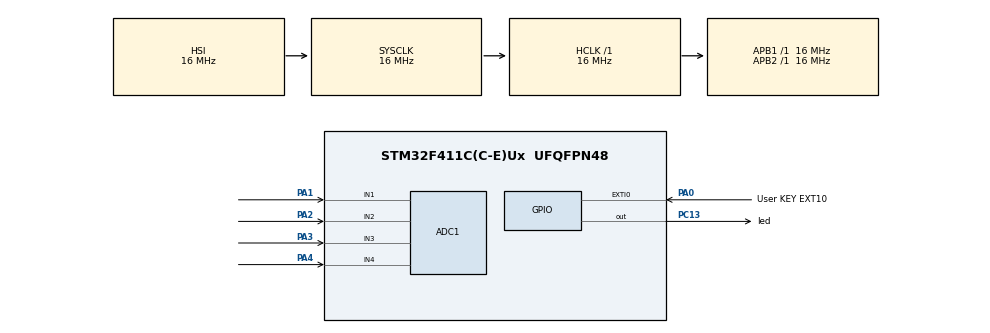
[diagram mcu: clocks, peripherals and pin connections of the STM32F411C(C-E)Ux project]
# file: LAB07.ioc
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ADC1.Channel-2\#ChannelRegularConversion=ADC_CHANNEL_1
ADC1.Channel-3\#ChannelRegularConversion=ADC_CHANNEL_2
ADC1.Channel-4\#ChannelRegularConversion=ADC_CHANNEL_3
ADC1.Channel-5\#ChannelRegularConversion=ADC_CHANNEL_4
ADC1.DMAContinuousRequests=ENABLE
ADC1.NbrOfConversion=4
ADC1.NbrOfConversionFlag=1
ADC1.Rank-2\#ChannelRegularConversion=1
ADC1.Rank-3\#ChannelRegularConversion=2
ADC1.Rank-4\#ChannelRegularConversion=3
ADC1.Rank-5\#ChannelRegularConversion=4
ADC1.SamplingTime-2\#ChannelRegularConversion=ADC_SAMPLETIME_3CYCLES
ADC1.SamplingTime-3\#ChannelRegularConversion=ADC_SAMPLETIME_3CYCLES
ADC1.SamplingTime-4\#ChannelRegularConversion=ADC_SAMPLETIME_3CYCLES
ADC1.SamplingTime-5\#ChannelRegularConversion=ADC_SAMPLETIME_3CYCLES
ADC1.ScanConvMode=ENABLE
ADC1.master=1
Dma.ADC1.0.Direction=DMA_PERIPH_TO_MEMORY
Dma.ADC1.0.FIFOMode=DMA_FIFOMODE_DISABLE
Dma.ADC1.0.Instance=DMA2_Stream0
Dma.ADC1.0.MemDataAlignment=DMA_MDATAALIGN_WORD
Dma.ADC1.0.MemInc=DMA_MINC_ENABLE
Dma.ADC1.0.Mode=DMA_CIRCULAR
Dma.ADC1.0.PeriphDataAlignment=DMA_PDATAALIGN_WORD
Dma.ADC1.0.PeriphInc=DMA_PINC_DISABLE
Dma.ADC1.0.Priority=DMA_PRIORITY_LOW
Dma.Request0=ADC1
Dma.Request1=TIM2_CH3/UP
Dma.TIM2_CH3/UP.1.Direction=DMA_PERIPH_TO_MEMORY
Dma.TIM2_CH3/UP.1.FIFOMode=DMA_FIFOMODE_DISABLE
Dma.TIM2_CH3/UP.1.Instance=DMA1_Stream1
Dma.TIM2_CH3/UP.1.MemDataAlignment=DMA_MDATAALIGN_WORD
Dma.TIM2_CH3/UP.1.MemInc=DMA_MINC_ENABLE
Dma.TIM2_CH3/UP.1.Mode=DMA_NORMAL
Dma.TIM2_CH3/UP.1.PeriphDataAlignment=DMA_PDATAALIGN_WORD
Dma.TIM2_CH3/UP.1.PeriphInc=DMA_PINC_DISABLE
Dma.TIM2_CH3/UP.1.Priority=DMA_PRIORITY_LOW
FREERTOS.Mutexes01=SensorAMutex,Dynamic,NULL,Available;SensorBMutex,Dynamic,NULL,Available
FREERTOS.Tasks01=LEDTASK,24,128,STARTLEDTASK,Default,NULL,Dynamic,NULL,NULL;AN1Task,24,128,StartAN1Task,Default,NULL,Dynamic,NULL,NULL;AN2Task,24,128,StartAN2Task,Default,NULL,Dynamic,NULL,NULL;AN3Task,24,128,StartAN3Task,Default,NULL,Dynamic,NULL,NULL;AN4Task,24,128,StartAN4task,Default,NULL,Dynamic,NULL,NULL
Mcu.Family=STM32F4
Mcu.Name=STM32F411C(C-E)Ux
Mcu.Package=UFQFPN48
NVIC.ADC_IRQn=true\:5\:0\:false\:false\:true\:true\:true\:true\:true
NVIC.DMA1_Stream1_IRQn=true\:5\:0\:false\:false\:true\:true\:false\:true\:true
NVIC.DMA2_Stream0_IRQn=true\:5\:0\:false\:false\:true\:true\:false\:true\:true
NVIC.EXTI0_IRQn=true\:5\:0\:false\:false\:true\:true\:true\:true\:true
NVIC.PriorityGroup=NVIC_PRIORITYGROUP_4
NVIC.TIM1_UP_TIM10_IRQn=true\:15\:0\:false\:false\:true\:false\:false\:true\:true
NVIC.TIM2_IRQn=true\:5\:0\:false\:false\:true\:true\:true\:true\:true
NVIC.TimeBase=TIM1_UP_TIM10_IRQn
NVIC.TimeBaseIP=TIM10
PA0-WKUP.GPIO_Label=User KEY EXT10
PA0-WKUP.GPIO_ModeDefaultEXTI=GPIO_MODE_IT_FALLING
PA0-WKUP.GPIO_PuPd=GPIO_PULLUP
PA0-WKUP.Signal=GPXTI0
PA1.Signal=ADCx_IN1
PA13.Mode=Serial_Wire
PA13.Signal=SYS_JTMS-SWDIO
PA14.Mode=Serial_Wire
PA14.Signal=SYS_JTCK-SWCLK
PA2.Signal=ADCx_IN2
PA3.Signal=ADCx_IN3
PA4.Signal=ADCx_IN4
PC13-ANTI_TAMP.GPIO_Label=led
PC13-ANTI_TAMP.GPIO_ModeDefaultOutputPP=GPIO_MODE_OUTPUT_OD
PC13-ANTI_TAMP.GPIO_PuPd=GPIO_NOPULL
PC13-ANTI_TAMP.PinState=GPIO_PIN_SET
PC13-ANTI_TAMP.Signal=GPIO_Output
PH0\ -\ OSC_IN.Mode=HSE-External-Oscillator
PH0\ -\ OSC_IN.Signal=RCC_OSC_IN
PH1\ -\ OSC_OUT.Mode=HSE-External-Oscillator
PH1\ -\ OSC_OUT.Signal=RCC_OSC_OUT
ProjectManager.HeapSize=0x200
ProjectManager.StackSize=0x400
ProjectManager.TargetToolchain=CMake
RCC.AHBFreq_Value=16000000
RCC.APB1Freq_Value=16000000
RCC.APB2Freq_Value=16000000
RCC.CortexFreq_Value=16000000
RCC.HSE_VALUE=25000000
RCC.HSI_VALUE=16000000
RCC.LSE_VALUE=32768
RCC.SYSCLKFreq_VALUE=16000000
RCC.VCOOutputFreq_Value=192000000
SH.ADCx_IN1.0=ADC1_IN1,IN1
SH.ADCx_IN2.0=ADC1_IN2,IN2
SH.ADCx_IN3.0=ADC1_IN3,IN3
SH.ADCx_IN4.0=ADC1_IN4,IN4
TIM2.AutoReloadPreload=TIM_AUTORELOAD_PRELOAD_ENABLE
TIM2.Period=16000-1
TIM2.Prescaler=3999
VP_FREERTOS_VS_CMSIS_V2.Mode=CMSIS_V2
VP_SYS_VS_tim10.Mode=TIM10
VP_TIM2_VS_ClockSourceINT.Mode=Internal
board=custom

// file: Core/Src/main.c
/* USER CODE BEGIN Header */
/**
  ******************************************************************************
  * @file           : main.c
  * @brief          : Main program body
  ******************************************************************************
  * @attention
  *
  * Copyright (c) 2024 STMicroelectronics.
  * All rights reserved.
  *
  * This software is licensed under terms that can be found in the LICENSE file
  * in the root directory of this software component.
  * If no LICENSE file comes with this software, it is provided AS-IS.
  *
  ******************************************************************************
  */
/* USER CODE END Header */
#include "main.h"
#include "cmsis_os.h"

ADC_HandleTypeDef hadc1;
DMA_HandleTypeDef hdma_adc1;

TIM_HandleTypeDef htim2;
DMA_HandleTypeDef hdma_tim2_ch3_up;

/* Definitions for LEDTASK */
osThreadId_t LEDTASKHandle;
const osThreadAttr_t LEDTASK_attributes = {
  .name = "LEDTASK",
  .stack_size = 128 * 4,
  .priority = (osPriority_t) osPriorityNormal,
};
/* Definitions for AN1Task */
osThreadId_t AN1TaskHandle;
const osThreadAttr_t AN1Task_attributes = {
  .name = "AN1Task",
  .stack_size = 128 * 4,
  .priority = (osPriority_t) osPriorityNormal,
};
/* Definitions for AN2Task */
osThreadId_t AN2TaskHandle;
const osThreadAttr_t AN2Task_attributes = {
  .name = "AN2Task",
  .stack_size = 128 * 4,
  .priority = (osPriority_t) osPriorityNormal,
};
/* Definitions for AN3Task */
osThreadId_t AN3TaskHandle;
const osThreadAttr_t AN3Task_attributes = {
  .name = "AN3Task",
  .stack_size = 128 * 4,
  .priority = (osPriority_t) osPriorityNormal,
};
/* Definitions for AN4Task */
osThreadId_t AN4TaskHandle;
const osThreadAttr_t AN4Task_attributes = {
  .name = "AN4Task",
  .stack_size = 128 * 4,
  .priority = (osPriority_t) osPriorityNormal,
};
/* Definitions for SensorAMutex */
osMutexId_t SensorAMutexHandle;
const osMutexAttr_t SensorAMutex_attributes = {
  .name = "SensorAMutex"
};
/* Definitions for SensorBMutex */
osMutexId_t SensorBMutexHandle;
const osMutexAttr_t SensorBMutex_attributes = {
  .name = "SensorBMutex"
};
/* USER CODE BEGIN PV */
uint8_t BLUELED = 0;
uint32_t AD_RES_BUFFER[4];
uint16_t ADC1IN1, ADC1IN2;
uint16_t ADC1IN3, ADC1IN4;
int16_t DiffA, DiffB;
float voltage1, voltage2;
float voltage3, voltage4;
uint32_t sensorA,sensorB;
/* USER CODE END PV */

void SystemClock_Config(void);
static void MX_GPIO_Init(void);
static void MX_DMA_Init(void);
static void MX_ADC1_Init(void);
static void MX_TIM2_Init(void);
void STARTLEDTASK(void *argument);
void StartAN1Task(void *argument);
void StartAN2Task(void *argument);
void StartAN3Task(void *argument);
void StartAN4task(void *argument);

int main(void)
{

  /* MCU Configuration--------------------------------------------------------*/

  /* Reset of all peripherals, Initializes the Flash interface and the Systick. */
  HAL_Init();

  /* Configure the system clock */
  SystemClock_Config();

  /* Initialize all configured peripherals */
  MX_GPIO_Init();
  MX_DMA_Init();
  MX_ADC1_Init();
  MX_TIM2_Init();
  /* USER CODE BEGIN 2 */
HAL_TIM_Base_Start_IT(&htim2);
  /* USER CODE END 2 */

  /* Init scheduler */
  osKernelInitialize();
  /* Create the mutex(es) */
  /* creation of SensorAMutex */
  SensorAMutexHandle = osMutexNew(&SensorAMutex_attributes);

  /* creation of SensorBMutex */
  SensorBMutexHandle = osMutexNew(&SensorBMutex_attributes);

  /* Create the thread(s) */
  /* creation of LEDTASK */
  LEDTASKHandle = osThreadNew(STARTLEDTASK, NULL, &LEDTASK_attributes);

  /* creation of AN1Task */
  AN1TaskHandle = osThreadNew(StartAN1Task, NULL, &AN1Task_attributes);

  /* creation of AN2Task */
  AN2TaskHandle = osThreadNew(StartAN2Task, NULL, &AN2Task_attributes);

  /* creation of AN3Task */
  AN3TaskHandle = osThreadNew(StartAN3Task, NULL, &AN3Task_attributes);

  /* creation of AN4Task */
  AN4TaskHandle = osThreadNew(StartAN4task, NULL, &AN4Task_attributes);

  /* Start scheduler */
  osKernelStart();

  /* We should never get here as control is now taken by the scheduler */

  /* Infinite loop */
  while (1)
  {

  }
}

void SystemClock_Config(void)
{
  RCC_OscInitTypeDef RCC_OscInitStruct = {0};
  RCC_ClkInitTypeDef RCC_ClkInitStruct = {0};

  /** Configure the main internal regulator output voltage
  */
  __HAL_RCC_PWR_CLK_ENABLE();
  __HAL_PWR_VOLTAGESCALING_CONFIG(PWR_REGULATOR_VOLTAGE_SCALE1);

  /** Initializes the RCC Oscillators according to the specified parameters
  * in the RCC_OscInitTypeDef structure.
  */
  RCC_OscInitStruct.OscillatorType = RCC_OSCILLATORTYPE_HSI;
  RCC_OscInitStruct.HSIState = RCC_HSI_ON;
  RCC_OscInitStruct.HSICalibrationValue = RCC_HSICALIBRATION_DEFAULT;
  RCC_OscInitStruct.PLL.PLLState = RCC_PLL_NONE;
  if (HAL_RCC_OscConfig(&RCC_OscInitStruct) != HAL_OK)
  {
    Error_Handler();
  }

  /** Initializes the CPU, AHB and APB buses clocks
  */
  RCC_ClkInitStruct.ClockType = RCC_CLOCKTYPE_HCLK|RCC_CLOCKTYPE_SYSCLK
                              |RCC_CLOCKTYPE_PCLK1|RCC_CLOCKTYPE_PCLK2;
  RCC_ClkInitStruct.SYSCLKSource = RCC_SYSCLKSOURCE_HSI;
  RCC_ClkInitStruct.AHBCLKDivider = RCC_SYSCLK_DIV1;
  RCC_ClkInitStruct.APB1CLKDivider = RCC_HCLK_DIV1;
  RCC_ClkInitStruct.APB2CLKDivider = RCC_HCLK_DIV1;

  if (HAL_RCC_ClockConfig(&RCC_ClkInitStruct, FLASH_LATENCY_0) != HAL_OK)
  {
    Error_Handler();
  }
}

static void MX_ADC1_Init(void)
{

  ADC_ChannelConfTypeDef sConfig = {0};

  /** Configure the global features of the ADC (Clock, Resolution, Data Alignment and number of conversion)
  */
  hadc1.Instance = ADC1;
  hadc1.Init.ClockPrescaler = ADC_CLOCK_SYNC_PCLK_DIV2;
  hadc1.Init.Resolution = ADC_RESOLUTION_12B;
  hadc1.Init.ScanConvMode = ENABLE;
  hadc1.Init.ContinuousConvMode = DISABLE;
  hadc1.Init.DiscontinuousConvMode = DISABLE;
  hadc1.Init.ExternalTrigConvEdge = ADC_EXTERNALTRIGCONVEDGE_NONE;
  hadc1.Init.ExternalTrigConv = ADC_SOFTWARE_START;
  hadc1.Init.DataAlign = ADC_DATAALIGN_RIGHT;
  hadc1.Init.NbrOfConversion = 4;
  hadc1.Init.DMAContinuousRequests = ENABLE;
  hadc1.Init.EOCSelection = ADC_EOC_SINGLE_CONV;
  if (HAL_ADC_Init(&hadc1) != HAL_OK)
  {
    Error_Handler();
  }

  /** Configure for the selected ADC regular channel its corresponding rank in the sequencer and its sample time.
  */
  sConfig.Channel = ADC_CHANNEL_1;
  sConfig.Rank = 1;
  sConfig.SamplingTime = ADC_SAMPLETIME_3CYCLES;
  if (HAL_ADC_ConfigChannel(&hadc1, &sConfig) != HAL_OK)
  {
    Error_Handler();
  }

  /** Configure for the selected ADC regular channel its corresponding rank in the sequencer and its sample time.
  */
  sConfig.Channel = ADC_CHANNEL_2;
  sConfig.Rank = 2;
  if (HAL_ADC_ConfigChannel(&hadc1, &sConfig) != HAL_OK)
  {
    Error_Handler();
  }

  /** Configure for the selected ADC regular channel its corresponding rank in the sequencer and its sample time.
  */
  sConfig.Channel = ADC_CHANNEL_3;
  sConfig.Rank = 3;
  if (HAL_ADC_ConfigChannel(&hadc1, &sConfig) != HAL_OK)
  {
    Error_Handler();
  }

  /** Configure for the selected ADC regular channel its corresponding rank in the sequencer and its sample time.
  */
  sConfig.Channel = ADC_CHANNEL_4;
  sConfig.Rank = 4;
  if (HAL_ADC_ConfigChannel(&hadc1, &sConfig) != HAL_OK)
  {
    Error_Handler();
  }

}

static void MX_TIM2_Init(void)
{

  TIM_ClockConfigTypeDef sClockSourceConfig = {0};
  TIM_MasterConfigTypeDef sMasterConfig = {0};

  htim2.Instance = TIM2;
  htim2.Init.Prescaler = 3999;
  htim2.Init.CounterMode = TIM_COUNTERMODE_UP;
  htim2.Init.Period = 16000-1;
  htim2.Init.ClockDivision = TIM_CLOCKDIVISION_DIV1;
  htim2.Init.AutoReloadPreload = TIM_AUTORELOAD_PRELOAD_ENABLE;
  if (HAL_TIM_Base_Init(&htim2) != HAL_OK)
  {
    Error_Handler();
  }
  sClockSourceConfig.ClockSource = TIM_CLOCKSOURCE_INTERNAL;
  if (HAL_TIM_ConfigClockSource(&htim2, &sClockSourceConfig) != HAL_OK)
  {
    Error_Handler();
  }
  sMasterConfig.MasterOutputTrigger = TIM_TRGO_RESET;
  sMasterConfig.MasterSlaveMode = TIM_MASTERSLAVEMODE_DISABLE;
  if (HAL_TIMEx_MasterConfigSynchronization(&htim2, &sMasterConfig) != HAL_OK)
  {
    Error_Handler();
  }

}

static void MX_DMA_Init(void)
{

  /* DMA controller clock enable */
  __HAL_RCC_DMA2_CLK_ENABLE();
  __HAL_RCC_DMA1_CLK_ENABLE();

  /* DMA interrupt init */
  /* DMA1_Stream1_IRQn interrupt configuration */
  HAL_NVIC_SetPriority(DMA1_Stream1_IRQn, 5, 0);
  HAL_NVIC_EnableIRQ(DMA1_Stream1_IRQn);
  /* DMA2_Stream0_IRQn interrupt configuration */
  HAL_NVIC_SetPriority(DMA2_Stream0_IRQn, 5, 0);
  HAL_NVIC_EnableIRQ(DMA2_Stream0_IRQn);

}

static void MX_GPIO_Init(void)
{
  GPIO_InitTypeDef GPIO_InitStruct = {0};

  /* GPIO Ports Clock Enable */
  __HAL_RCC_GPIOC_CLK_ENABLE();
  __HAL_RCC_GPIOH_CLK_ENABLE();
  __HAL_RCC_GPIOA_CLK_ENABLE();

  /*Configure GPIO pin Output Level */
  HAL_GPIO_WritePin(led_GPIO_Port, led_Pin, GPIO_PIN_SET);

  /*Configure GPIO pin : led_Pin */
  GPIO_InitStruct.Pin = led_Pin;
  GPIO_InitStruct.Mode = GPIO_MODE_OUTPUT_OD;
  GPIO_InitStruct.Pull = GPIO_NOPULL;
  GPIO_InitStruct.Speed = GPIO_SPEED_FREQ_LOW;
  HAL_GPIO_Init(led_GPIO_Port, &GPIO_InitStruct);

  /*Configure GPIO pin : User_KEY_EXT10_Pin */
  GPIO_InitStruct.Pin = User_KEY_EXT10_Pin;
  GPIO_InitStruct.Mode = GPIO_MODE_IT_FALLING;
  GPIO_InitStruct.Pull = GPIO_PULLUP;
  HAL_GPIO_Init(User_KEY_EXT10_GPIO_Port, &GPIO_InitStruct);

  /* EXTI interrupt init*/
  HAL_NVIC_SetPriority(EXTI0_IRQn, 5, 0);
  HAL_NVIC_EnableIRQ(EXTI0_IRQn);

}

/* USER CODE BEGIN Header_STARTLEDTASK */
/* USER CODE END Header_StartLEDTask */
void STARTLEDTASK(void *argument)
{
/* USER CODE BEGIN 5 */
/* Infinite loop */
for (;;)
{
if (BLUELED)
HAL_GPIO_WritePin(GPIOC, GPIO_PIN_13, GPIO_PIN_RESET); // LED ON
else
HAL_GPIO_WritePin(GPIOC, GPIO_PIN_13, GPIO_PIN_SET); // LED OFF
osDelay(1);
}
/* USER CODE END 5 */
}

void StartAN1Task(void *argument)
{
/* USER CODE BEGIN StartAN1Task */
/* Infinite loop */
for (;;)
{
voltage1 = (ADC1IN1 * 3.3) / 4095;
DiffA = ADC1IN1 - ADC1IN2;
sensorA = (sensorA + ADC1IN1)/2;
osDelay(1);
}
/* USER CODE END StartAN1Task */
}

void StartAN2Task(void *argument)
{
/* USER CODE BEGIN StartAN2Task */
/* Infinite loop */
for (;;)
{
voltage2 = (ADC1IN2 * 3.3) / 4095;
DiffA = ADC1IN1 - ADC1IN2;
sensorA = (sensorA + ADC1IN2)/2;
osDelay(1);
}
/* USER CODE END StartAN2Task */
}

void StartAN3Task(void *argument)
{
/* USER CODE BEGIN StartAN3Task */
/* Infinite loop */
for (;;)
{
voltage3 = (ADC1IN3 * 3.3) / 4095;
DiffB = ADC1IN3 - ADC1IN4;
sensorB = (sensorB + ADC1IN3)/2;
osDelay(1);
}
/* USER CODE END StartAN3Task */
}

/* USER CODE BEGIN Header_StartAN4task */
/* USER CODE END Header_StartAN4Task */
void StartAN4task(void *argument)
{
/* USER CODE BEGIN StartAN4Task */
/* Infinite loop */
for (;;)
{
voltage4 = (ADC1IN4 * 3.3) / 4095;
DiffB = ADC1IN3 - ADC1IN4;
sensorB = (sensorB + ADC1IN4)/2;
osDelay(1);
}
/* USER CODE END StartAN4Task */
}

void HAL_TIM_PeriodElapsedCallback(TIM_HandleTypeDef *htim)
{
  if (htim->Instance == TIM10) {
    HAL_IncTick();
  }
}

void Error_Handler(void)
{
  __disable_irq();
  while (1)
  {
  }
}
